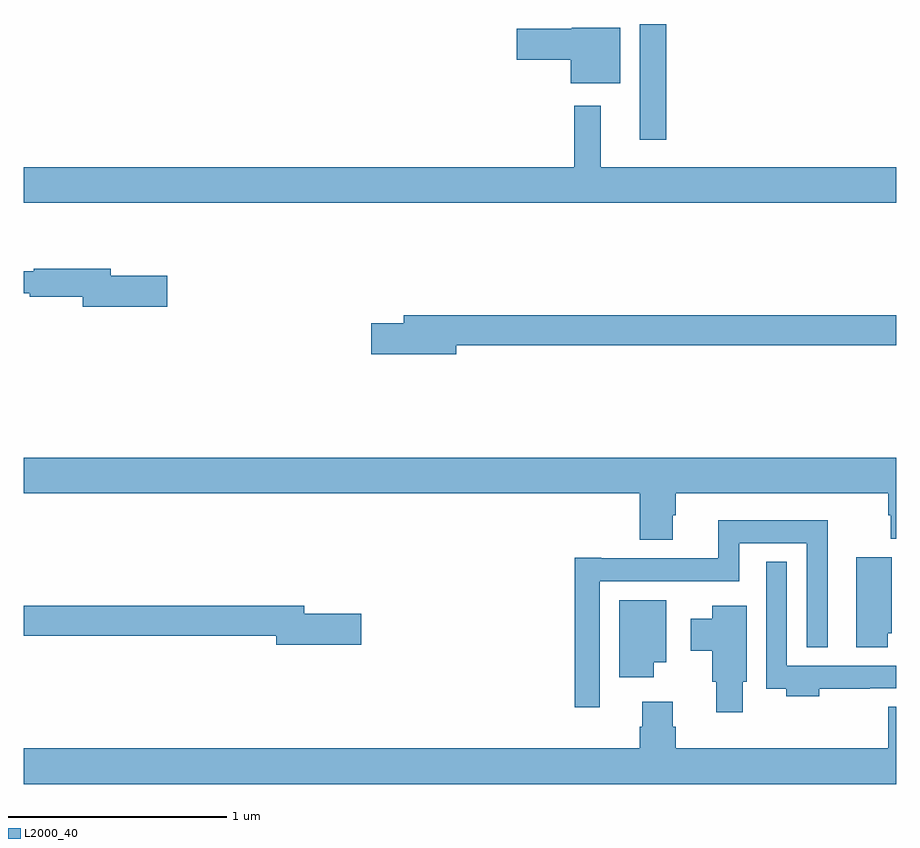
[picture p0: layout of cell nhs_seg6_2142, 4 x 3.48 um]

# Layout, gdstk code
import gdstk
lib = gdstk.Library(unit=1e-6, precision=1e-09)
def R(c, l, rs):  # rectangles x0, y0, x1, y1
    for r in rs: c.add(gdstk.rectangle(r[:2], r[2:], *l))
def P(c, l, *ps):  # polygons
    for p in ps: c.add(gdstk.Polygon(p, *l))
L2000_40 = (2000, 40)

nhs_seg6_2142 = lib.new_cell('nhs_seg6_2142')
R(nhs_seg6_2142, L2000_40, [(241.823,936.969,241.945,937.5)])
P(nhs_seg6_2142, L2000_40, [(241.735,937.483),(241.512,937.483),(241.512,937.478),(241.26,937.478),(241.26,937.336),(241.508,937.336),(241.508,937.229),(241.735,937.229)],
  [(243,936.844),(241.645,936.844),(241.645,937.126),(241.524,937.126),(241.524,936.844),(239,936.844),(239,936.68),(243,936.68)],
  [(239.659,936.345),(239.398,936.345),(239.398,936.379),(239.047,936.379),(239.047,936.366),(239,936.366),(239,936.265),(239.028,936.265),(239.028,936.25),(239.27,936.25),(239.27,936.203),(239.659,936.203)],
  [(240.982,936.028),(243,936.028),(243,936.164),(240.743,936.164),(240.743,936.128),(240.594,936.128),(240.594,935.986),(240.982,935.986)],
  [(241.975,935.247),(241.988,935.247),(241.988,935.348),(242.963,935.348),(242.963,935.249),(242.975,935.249),(242.975,935.14),(243,935.14),(243,935.512),(239,935.512),(239,935.348),(241.823,935.348),(241.823,935.135),(241.975,935.135)],
  [(241.641,934.946),(242.28,934.946),(242.28,935.12),(242.589,935.12),(242.589,934.643),(242.686,934.643),(242.686,935.224),(242.183,935.224),(242.183,935.05),(241.648,935.05),(241.648,935.053),(241.525,935.053),(241.525,934.368),(241.641,934.368)],
  [(242.962,934.707),(242.98,934.707),(242.98,935.055),(242.816,935.055),(242.816,934.644),(242.962,934.644)],
  [(242.648,934.452),(242.879,934.452),(242.879,934.454),(243,934.454),(243,934.558),(242.499,934.558),(242.499,935.035),(242.403,935.035),(242.403,934.452),(242.495,934.452),(242.495,934.418),(242.648,934.418)],
  [(241.888,934.574),(241.945,934.574),(241.945,934.858),(241.73,934.858),(241.73,934.506),(241.888,934.506)],
  [(242.296,934.485),(242.314,934.485),(242.314,934.834),(242.156,934.834),(242.156,934.774),(242.057,934.774),(242.057,934.627),(242.156,934.627),(242.156,934.485),(242.174,934.485),(242.174,934.344),(242.296,934.344)],
  [(240.547,934.796),(240.286,934.796),(240.286,934.832),(239,934.832),(239,934.696),(240.158,934.696),(240.158,934.654),(240.547,934.654)],
  [(243,934.369),(242.963,934.369),(242.963,934.18),(241.988,934.18),(241.988,934.278),(241.975,934.278),(241.975,934.393),(241.835,934.393),(241.835,934.278),(241.823,934.278),(241.823,934.18),(239,934.18),(239,934.016),(243,934.016)])

lib.write_gds('nhs_seg6_2142.gds')
